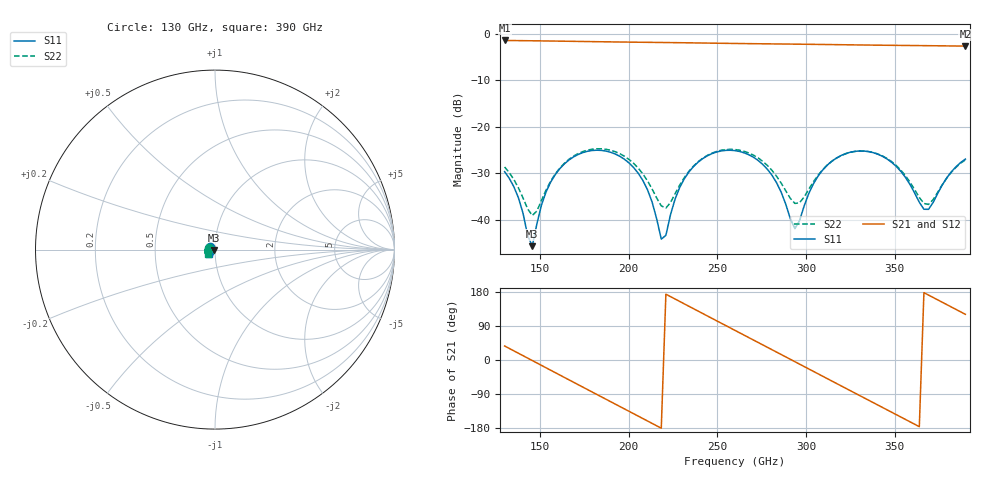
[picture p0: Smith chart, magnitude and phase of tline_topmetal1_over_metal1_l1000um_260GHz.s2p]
#  GHZ S DB R 50
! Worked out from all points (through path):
!   101 points, 130 GHz to 390 GHz, reference 50 ohm
!   highest |S21| = -1.40 dB at 130 GHz (marker M1); lowest = -2.6 dB at 390 GHz (marker M2)
!   group delay of S21, straight-line fit = 6.8 ps
!   lowest |S11| = -45.6 dB at 145.6 GHz (marker M3), VSWR 1.01, Z = 49.6 - j0.306 ohm
!   |S11| at or under -10 dB: start of sweep to end of sweep
!   |S22| runs from -39.0 to -24.7 dB; largest |S21 - S12| = 9.4e-14
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130  -29.62 156.9  -1.40 37.0  -1.40 37.0  -28.61 166.7
137.8  -35.24 145.9  -1.44 17.8  -1.44 17.8  -33.10 161.1
145.6  -45.64 -143.8  -1.47 -1.4  -1.47 -1.4  -39.04 -161.1
150.8  -36.80 -103.0  -1.50 -14.2  -1.50 -14.2  -35.81 -123.1
156  -31.86 -106.6  -1.52 -27.0  -1.52 -27.0  -31.64 -116.9
174.2  -25.51 -144.2  -1.62 -71.7  -1.62 -71.7  -25.29 -144.5
187.2  -25.19 -173.6  -1.69 -103.6  -1.69 -103.6  -24.80 -170.7
202.8  -28.73 153.0  -1.77 -141.7  -1.77 -141.7  -27.83 161.4
210.6  -33.48 141.3  -1.80 -160.8  -1.80 -160.8  -31.58 155.3
218.4  -44.12 174.4  -1.84 -180.0  -1.84 -180.0  -36.97 177.9
221  -43.31 -135.8  -1.85 173.7  -1.85 173.7  -37.44 -162.1
223.6  -38.88 -115.2  -1.86 167.3  -1.86 167.3  -36.26 -144.4
234  -29.68 -119.2  -1.91 141.8  -1.91 141.8  -29.53 -130.7
247  -25.74 -145.3  -1.98 109.9  -1.98 109.9  -25.63 -149.7
260  -25.09 -173.3  -2.05 78.1  -2.05 78.1  -24.85 -174.0
280.8  -30.36 147.1  -2.14 27.3  -2.14 27.3  -29.32 153.5
293.8  -41.87 -170.9  -2.19 -4.5  -2.19 -4.5  -36.45 -179.7
304.2  -32.26 -120.6  -2.24 -29.9  -2.24 -29.9  -31.81 -138.1
327.6  -25.25 -160.6  -2.35 -87.1  -2.35 -87.1  -25.27 -166.7
348.4  -27.61 160.6  -2.45 -137.9  -2.45 -137.9  -27.46 157.7
369.2  -37.72 -159.5  -2.53 171.3  -2.53 171.3  -36.66 -168.3
390  -26.91 -143.1  -2.62 120.5  -2.62 120.5  -27.07 -149.1
